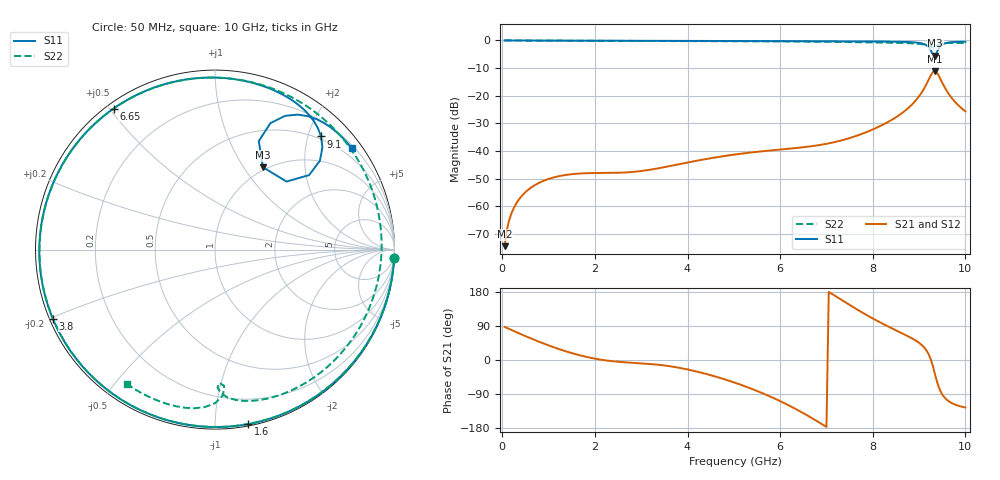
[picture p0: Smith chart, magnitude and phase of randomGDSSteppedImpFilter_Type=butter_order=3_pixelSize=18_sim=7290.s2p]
! freq	dB(S11)	phase(S11)	dB(S12)	phase(S12)
!  dB(S21)	phase(S21)	dB(S22)	phase(S22)
!S-par simulation data
#  GHz  S  DB  R 50
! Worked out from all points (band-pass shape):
!   200 points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, 50 MHz to 10 GHz, reference 50 ohm
!   highest |S21| = -11.06 dB at 9.35 GHz (marker M1); lowest = -74.4 dB at 50 MHz (marker M2)
!   |S21| within 3 dB of the highest: 9.211 GHz to 9.464 GHz (253.1 MHz wide, 2.71 % of centre)
!   lowest |S11| = -5.5 dB at 9.35 GHz (marker M3), VSWR 3.26, Z = 48 + j61.4 ohm
!   |S11| at or under -10 dB: nowhere
!   |S22| runs from -2.6 to 0.0 dB; largest |S21 - S12| = 0
!   S11 on the Smith chart (normalised r, x): 50 MHz: 0, -42; 1.6 GHz: 0.01, -1.21; 3.8 GHz: 0.01, -0.20; 6.65 GHz: 0.02, +0.51; 9.1 GHz: 0.45, +2.23; 10 GHz: 0.27, +3.00
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0.05  -0.00 -2.7  -74.40 87.2  -74.40 87.2  -0.00 -2.8
0.1  -0.01 -5.4  -68.41 84.6  -68.41 84.6  -0.01 -5.6
0.2  -0.02 -10.7  -62.45 79.1  -62.45 79.1  -0.02 -11.2
0.45  -0.03 -23.8  -55.70 65.7  -55.70 65.7  -0.03 -25.0
1.05  -0.06 -54.0  -49.82 36.3  -49.82 36.3  -0.07 -56.9
1.6  -0.09 -79.2  -48.21 14.8  -48.21 14.8  -0.10 -83.9
1.75  -0.10 -85.6  -48.06 10.1  -48.06 10.1  -0.10 -90.8
2.45  -0.12 -113.1  -47.88 -4.1  -47.88 -4.1  -0.13 -121.1
3.4  -0.14 -144.9  -46.14 -12.9  -46.14 -12.9  -0.17 -158.2
3.8  -0.16 -157.0  -44.81 -20.1  -44.81 -20.1  -0.18 -173.1
4.45  -0.18 -175.5  -42.74 -38.4  -42.74 -38.4  -0.22 162.5
5.05  -0.20 168.3  -41.19 -61.1  -41.19 -61.1  -0.26 139.0
5.9  -0.24 145.7  -39.61 -102.8  -39.61 -102.8  -0.34 102.2
6.65  -0.28 125.7  -38.31 -150.8  -38.31 -150.8  -0.44 64.4
6.7  -0.28 124.4  -38.20 -154.3  -38.20 -154.3  -0.45 61.7
7.55  -0.34 100.8  -35.04 141.6  -35.04 141.6  -0.60 12.3
8.35  -0.43 76.9  -29.30 87.3  -29.30 87.3  -0.81 -36.9
9.1  -1.27 46.9  -17.64 34.4  -17.64 34.4  -1.46 -82.2
9.25  -3.50 38.4  -12.75 2.6  -12.75 2.6  -2.29 -89.0
9.35  -5.50 59.8  -11.06 -40.5  -11.06 -40.5  -2.37 -86.1
9.5  -1.50 62.3  -15.28 -90.8  -15.28 -90.8  -1.12 -93.7
10  -0.46 36.6  -25.61 -125.5  -25.61 -125.5  -0.96 -123.1
